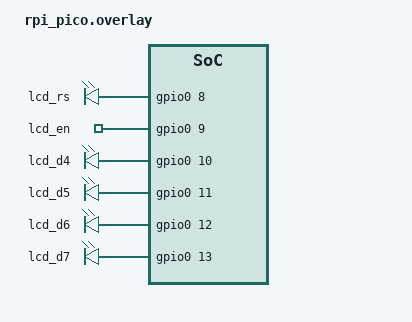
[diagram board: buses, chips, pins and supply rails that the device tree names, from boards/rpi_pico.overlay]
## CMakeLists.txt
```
cmake_minimum_required(VERSION 3.20.0)

find_package(Zephyr REQUIRED HINTS $ENV{ZEPHYR_BASE})

project(lcd)

target_include_directories(app PRIVATE
    inc
)

target_sources(app PRIVATE src/main.c src/lcd.c)
```

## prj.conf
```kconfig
CONFIG_GPIO=y
CONFIG_SERIAL=y
CONFIG_CONSOLE=y
CONFIG_PRINTK=y

#west build -p always -b rpi_pico . -S cdc-acm-console
CONFIG_USB_DEVICE_STACK_NEXT=y
CONFIG_CDC_ACM_SERIAL_INITIALIZE_AT_BOOT=y
```

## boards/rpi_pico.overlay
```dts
#include <zephyr/dt-bindings/gpio/gpio.h>

/ {
    gpio_devices {

        lcd {
            compatible = "gpio-leds";

            lcd_rs: rs {
                gpios = <&gpio0 8 GPIO_ACTIVE_HIGH>;
            };

            lcd_en: en {
                gpios = <&gpio0 9 GPIO_ACTIVE_HIGH>;
            };

            lcd_d4: d4 {
                gpios = <&gpio0 10 GPIO_ACTIVE_HIGH>;
            };

            lcd_d5: d5 {
                gpios = <&gpio0 11 GPIO_ACTIVE_HIGH>;
            };

            lcd_d6: d6 {
                gpios = <&gpio0 12 GPIO_ACTIVE_HIGH>;
            };

            lcd_d7: d7 {
                gpios = <&gpio0 13 GPIO_ACTIVE_HIGH>;
            };
        };
    };

    aliases {
        lcd-rs = &lcd_rs;
        lcd-en = &lcd_en;

        lcd-d4 = &lcd_d4;
        lcd-d5 = &lcd_d5;
        lcd-d6 = &lcd_d6;
        lcd-d7 = &lcd_d7;
    };
};
```

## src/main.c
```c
#include <zephyr/kernel.h>
#include "lcd.h"

#define LCD_PORT DEVICE_DT_GET(DT_NODELABEL(gpio0))

#define LCD_PIN(num) { .port = LCD_PORT, .pin = (num), .dt_flags = 0 }

static const struct lcd_pins my_lcd_pins = {
	.rs = LCD_PIN(8),
	.e  = LCD_PIN(9),
	.d  = { LCD_PIN(10),    /* D4 */
			LCD_PIN(11),    /* D5 */
			LCD_PIN(12),    /* D6 */
			LCD_PIN(13) },  /* D7 */
};

static const uint8_t heart[8] = {
	0x00, 0x0A, 0x1F, 0x1F, 0x0E, 0x04, 0x00, 0x00
};

int main(void)
{
	lcd_set_pins(&my_lcd_pins);

	if (lcd_init() < 0) {
		printk("LCD init failed\n");
		return 0;
	}

	lcd_create_char(0, heart);

	lcd_set_cursor(0, 0);
	lcd_print("Hello Zephyr!");
	lcd_set_cursor(1, 0);
	lcd_print("I ");
	lcd_write_char(0);               /* custom heart */
	lcd_print(" RTOS");

	k_sleep(K_SECONDS(2));
	lcd_cursor_on();
	lcd_blink_on();
	k_sleep(K_SECONDS(2));
	lcd_cursor_off();
	lcd_blink_off();

	while (1) {
		lcd_scroll_left();
		k_msleep(300);
	}
	return 0;
}
```

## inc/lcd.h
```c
#ifndef LCD_H
#define LCD_H

#include <stdint.h>
#include <zephyr/drivers/gpio.h>

#ifdef __cplusplus
extern "C" {
#endif

/* Change for your panel (16x2, 20x4, ...) */
#define LCD_COLS 16
#define LCD_ROWS 2

/* Pins are given by the application (see main.c) */
struct lcd_pins {
	struct gpio_dt_spec rs;
	struct gpio_dt_spec e;
	struct gpio_dt_spec d[4];   /* D4, D5, D6, D7 */
};

/* Call BEFORE lcd_init(). Struct is copied. */
void lcd_set_pins(const struct lcd_pins *pins);

int  lcd_init(void);

void lcd_clear(void);
void lcd_home(void);

void lcd_display_on(void);
void lcd_display_off(void);

void lcd_cursor_on(void);
void lcd_cursor_off(void);

void lcd_blink_on(void);
void lcd_blink_off(void);

void lcd_set_cursor(uint8_t row, uint8_t col);

void lcd_write_char(uint8_t data);
void lcd_print(const char *str);

void lcd_create_char(uint8_t location, const uint8_t pattern[8]);

void lcd_scroll_left(void);
void lcd_scroll_right(void);

#ifdef __cplusplus
}
#endif

#endif /* LCD_H */
```

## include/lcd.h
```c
#ifndef LCD_H
#define LCD_H

#include <stdint.h>
#include <zephyr/gpio/gpio.h>

#ifndef __cplusplus

extern "C"{

    #endif
    #define LCD_COLS 16
    #define LCD_ROWS 2

    struct lcd_pins{
        struct gpio_dt_spec rs;
        struct gpio_dt_spec en;
        struct gpio_dt_spec d[4]; // data pins D4, D5, D6, D7
    }

    //FUNCTION DECLARATION


    void lcd_set_pins(const struct lcd_pins *pins);

    int lcd_init(void);
    void lcd_clear(void);
    void lcd_home(void);

    void lcd_display_on(void);
    void lcd_display_off(void);

    void lcd_cursor_on(void);
    void lcd_cursor_off(void);

    void lcd_blink_on(void);
    void lcd_blink_off(void);

    void lcd_set_cursor(uint8_t row, uint8_t col);

    void lcd_write_char(uint8_t data);
    void lcd_print(const char *str);

    void lcd_create_char(uint_8t location, const uint8_t pattern[8]);

    void lcd_scroll_left(void);
    void lcd_scroll_right(void);

    #ifdef __cplusplus
}
#endif

#endif
```

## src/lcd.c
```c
/* HD44780 character LCD driver, 4-bit mode, Zephyr GPIO (devicetree) */
#include <zephyr/kernel.h>
#include <zephyr/drivers/gpio.h>
#include <errno.h>
#include "lcd.h"

static struct lcd_pins pins;
#define lcd_rs (pins.rs)
#define lcd_e  (pins.e)
#define lcd_d  (pins.d)

void lcd_set_pins(const struct lcd_pins *p)
{
	pins = *p;
}

/* Commands */
#define CMD_CLEAR        0x01
#define CMD_HOME         0x02
#define CMD_ENTRY_MODE   0x04
#define CMD_DISPLAY_CTRL 0x08
#define CMD_SHIFT        0x10
#define CMD_FUNC_SET     0x20
#define CMD_SET_CGRAM    0x40
#define CMD_SET_DDRAM    0x80

/* Bits */
#define ENTRY_INC        0x02
#define DISP_ON          0x04
#define CURSOR_ON        0x02
#define BLINK_ON         0x01
#define SHIFT_DISPLAY    0x08
#define SHIFT_RIGHT      0x04
#define FUNC_4BIT_2LINE_5X8 0x28

static uint8_t disp_ctrl = DISP_ON;

static void pulse_enable(void)
{
	gpio_pin_set_dt(&lcd_e, 0);
	k_busy_wait(1);
	gpio_pin_set_dt(&lcd_e, 1);
	k_busy_wait(1);          /* >450 ns */
	gpio_pin_set_dt(&lcd_e, 0);
	k_busy_wait(50);         /* commands need >37 us */
}

static void write4(uint8_t nibble)
{
	for (int i = 0; i < 4; i++) {
		gpio_pin_set_dt(&lcd_d[i], (nibble >> i) & 1);
	}
	pulse_enable();
}

static void send(uint8_t value, int rs)
{
	gpio_pin_set_dt(&lcd_rs, rs);
	write4(value >> 4);
	write4(value & 0x0F);
}

static inline void command(uint8_t cmd) { send(cmd, 0); }

int lcd_init(void)
{
	const struct gpio_dt_spec *list[] = {
		&lcd_rs, &lcd_e, &lcd_d[0], &lcd_d[1], &lcd_d[2], &lcd_d[3]
	};

	for (size_t i = 0; i < ARRAY_SIZE(list); i++) {
		if (!gpio_is_ready_dt(list[i])) {
			return -ENODEV;
		}
		int ret = gpio_pin_configure_dt(list[i], GPIO_OUTPUT_INACTIVE);
		if (ret < 0) {
			return ret;
		}
	}

	k_msleep(50);                    /* power-up delay (>40 ms) */

	/* Reset sequence per HD44780 datasheet */
	gpio_pin_set_dt(&lcd_rs, 0);
	write4(0x03);
	k_msleep(5);
	write4(0x03);
	k_busy_wait(150);
	write4(0x03);
	k_busy_wait(150);
	write4(0x02);                    /* switch to 4-bit mode */
	k_busy_wait(150);

	command(FUNC_4BIT_2LINE_5X8);
	disp_ctrl = DISP_ON;
	command(CMD_DISPLAY_CTRL | disp_ctrl);
	lcd_clear();
	command(CMD_ENTRY_MODE | ENTRY_INC);
	return 0;
}

void lcd_clear(void) { command(CMD_CLEAR); k_msleep(2); }
void lcd_home(void)  { command(CMD_HOME);  k_msleep(2); }

static void update_ctrl(void) { command(CMD_DISPLAY_CTRL | disp_ctrl); }

void lcd_display_on(void)  { disp_ctrl |=  DISP_ON;   update_ctrl(); }
void lcd_display_off(void) { disp_ctrl &= ~DISP_ON;   update_ctrl(); }
void lcd_cursor_on(void)   { disp_ctrl |=  CURSOR_ON; update_ctrl(); }
void lcd_cursor_off(void)  { disp_ctrl &= ~CURSOR_ON; update_ctrl(); }
void lcd_blink_on(void)    { disp_ctrl |=  BLINK_ON;  update_ctrl(); }
void lcd_blink_off(void)   { disp_ctrl &= ~BLINK_ON;  update_ctrl(); }

void lcd_set_cursor(uint8_t row, uint8_t col)
{
	static const uint8_t row_offset[] = { 0x00, 0x40, 0x14, 0x54 };

	if (row >= LCD_ROWS) { row = LCD_ROWS - 1; }
	if (row > 3)         { row = 3; }
	if (col >= LCD_COLS) { col = LCD_COLS - 1; }

	command(CMD_SET_DDRAM | (row_offset[row] + col));
}

void lcd_write_char(uint8_t data) { send(data, 1); }

void lcd_print(const char *str)
{
	while (str && *str) {
		lcd_write_char((uint8_t)*str++);
	}
}

void lcd_create_char(uint8_t location, const uint8_t pattern[8])
{
	location &= 0x07;
	command(CMD_SET_CGRAM | (location << 3));
	for (int i = 0; i < 8; i++) {
		lcd_write_char(pattern[i]);
	}
	command(CMD_SET_DDRAM);          /* back to DDRAM */
}

void lcd_scroll_left(void)  { command(CMD_SHIFT | SHIFT_DISPLAY); }
void lcd_scroll_right(void) { command(CMD_SHIFT | SHIFT_DISPLAY | SHIFT_RIGHT); }
```
